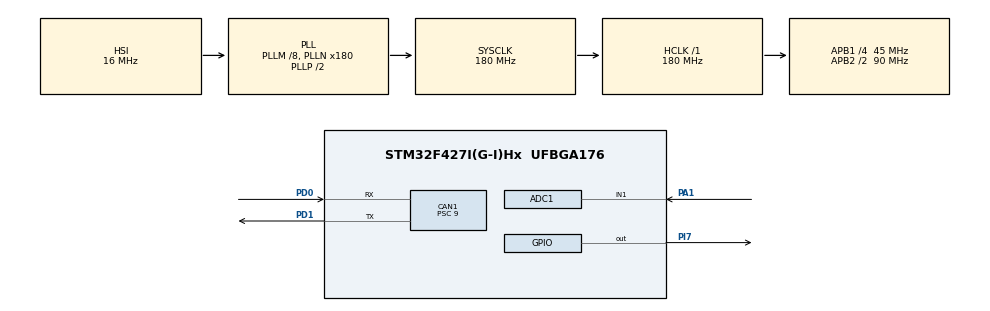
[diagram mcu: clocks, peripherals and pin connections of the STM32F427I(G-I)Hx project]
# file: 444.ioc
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ADC1.Channel-1\#ChannelRegularConversion=ADC_CHANNEL_1
ADC1.ClockPrescaler=ADC_CLOCK_SYNC_PCLK_DIV6
ADC1.DMAContinuousRequests=ENABLE
ADC1.ExternalTrigConv=ADC_EXTERNALTRIGCONV_T3_TRGO
ADC1.NbrOfConversion=1
ADC1.NbrOfConversionFlag=1
ADC1.Rank-1\#ChannelRegularConversion=1
ADC1.SamplingTime-1\#ChannelRegularConversion=ADC_SAMPLETIME_56CYCLES
ADC1.ScanConvMode=DISABLE
ADC1.master=1
CAN1.BS1=CAN_BS1_3TQ
CAN1.CalculateBaudRate=1000000
CAN1.CalculateTimeBit=1000
CAN1.CalculateTimeQuantum=200.0
CAN1.Prescaler=9
Dma.ADC1.0.Direction=DMA_PERIPH_TO_MEMORY
Dma.ADC1.0.FIFOMode=DMA_FIFOMODE_DISABLE
Dma.ADC1.0.Instance=DMA2_Stream0
Dma.ADC1.0.MemDataAlignment=DMA_MDATAALIGN_HALFWORD
Dma.ADC1.0.MemInc=DMA_MINC_ENABLE
Dma.ADC1.0.Mode=DMA_CIRCULAR
Dma.ADC1.0.PeriphDataAlignment=DMA_PDATAALIGN_HALFWORD
Dma.ADC1.0.PeriphInc=DMA_PINC_DISABLE
Dma.ADC1.0.Priority=DMA_PRIORITY_VERY_HIGH
Dma.Request0=ADC1
Mcu.Family=STM32F4
Mcu.Name=STM32F427I(G-I)Hx
Mcu.Package=UFBGA176
NVIC.ADC_IRQn=true\:3\:0\:true\:false\:true\:true\:true\:true
NVIC.DMA2_Stream0_IRQn=true\:0\:0\:false\:false\:true\:false\:true\:true
NVIC.PriorityGroup=NVIC_PRIORITYGROUP_4
PA1.Signal=ADCx_IN1
PA13.Mode=Serial_Wire
PA13.Signal=SYS_JTMS-SWDIO
PA14.Mode=Serial_Wire
PA14.Signal=SYS_JTCK-SWCLK
PD0.Mode=CAN_Activate
PD0.Signal=CAN1_RX
PD1.Mode=CAN_Activate
PD1.Signal=CAN1_TX
PH0/OSC_IN.Mode=HSE-External-Oscillator
PH0/OSC_IN.Signal=RCC_OSC_IN
PH1/OSC_OUT.Mode=HSE-External-Oscillator
PH1/OSC_OUT.Signal=RCC_OSC_OUT
PI7.PinState=GPIO_PIN_SET
PI7.Signal=GPIO_Output
ProjectManager.HeapSize=0x200
ProjectManager.StackSize=0x400
ProjectManager.TargetToolchain=MDK-ARM V5.32
RCC.48MHZClocksFreq_Value=90000000
RCC.AHBFreq_Value=180000000
RCC.APB1CLKDivider=RCC_HCLK_DIV4
RCC.APB1Freq_Value=45000000
RCC.APB1TimFreq_Value=90000000
RCC.APB2CLKDivider=RCC_HCLK_DIV2
RCC.APB2Freq_Value=90000000
RCC.APB2TimFreq_Value=180000000
RCC.CortexFreq_Value=180000000
RCC.HCLKFreq_Value=180000000
RCC.HSE_VALUE=25000000
RCC.HSI_VALUE=16000000
RCC.LSE_VALUE=32768
RCC.PLLM=8
RCC.PLLN=180
RCC.SYSCLKFreq_VALUE=180000000
RCC.SYSCLKSource=RCC_SYSCLKSOURCE_PLLCLK
RCC.VCOOutputFreq_Value=360000000
SH.ADCx_IN1.0=ADC1_IN1,IN1
TIM3.Period=1000-1
TIM3.Prescaler=18-1
TIM3.TIM_MasterOutputTrigger=TIM_TRGO_UPDATE
TIM8.Period=900-1
TIM8.Prescaler=400-1
VP_TIM3_VS_ClockSourceINT.Mode=Internal
VP_TIM8_VS_ClockSourceINT.Mode=Internal
board=custom

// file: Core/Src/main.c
/* USER CODE BEGIN Header */
/**
 ******************************************************************************
 * @file           : main.c
 * @brief          : Main program body
 ******************************************************************************
 * @attention      : CAN configuration is based on https://blog.csdn.net/prolop87/article/details/122671441
 *                   putFLOAT is based on https://blog.csdn.net/jianfeng_zhang1990/article/details/45395987
 *
 * Copyright (c) 2024 STMicroelectronics.
 * All rights reserved.
 *
 * This software is licensed under terms that can be found in the LICENSE file
 * in the root directory of this software component.
 * If no LICENSE file comes with this software, it is provided AS-IS.
 *
 ******************************************************************************
 */
/* USER CODE END Header */
#include "main.h"
#include "adc.h"
#include "can.h"
#include "dma.h"
#include "tim.h"
#include "gpio.h"

/* USER CODE BEGIN Includes */
#include "string.h"
#include "stdint.h"
#include "math.h"
#include "stm32_dsp.h"
// #include "arm_math.h"
/* USER CODE END Includes */

/* USER CODE BEGIN PM */
#define NPT 1024     // Number of FFT points
#define CHANNELNUM 4 // Number of ADC channels
#define PSC 18       // According to STM32CubeMX configuration
#define ARR 1000     // According to STM32CubeMX configuration
// #define CAN_RX_EXT_ID 0x18FF50E5
#define CAN_TX_ID 0x110
// #define PWM_MAX 1000
/* USER CODE END PM */

/* USER CODE BEGIN PV */
CAN_TxHeaderTypeDef TX_HEADER;
// CAN_RxHeaderTypeDef RX_HEADER;
// uint8_t RX_DATA[8];
// uint8_t RX_FLAG;
// uint8_t RX_BUFFER[8];
uint8_t TX_FLAG;
uint8_t TX_BUFFER[CHANNELNUM] = {0};
uint32_t ADC_BUFFER[NPT];
uint32_t FFT_IN[NPT];
uint32_t FFT_OUT[NPT];
uint32_t FFT_MAG[NPT / 2];
uint16_t i = 0;
float FS = (float)180000000.0 / ((float)ARR * (float)PSC);
float FREQ = 0;
// TIM_OC_InitTypeDef sConfig[4];
/* USER CODE END PV */

void SystemClock_Config(void);

/* USER CODE BEGIN 0 */
void getFFT_MAG(void);
void getMAX_FFT_MAG_FREQ(void);
void putFLOAT(float Fdat, unsigned char *Buf, unsigned char Pos); // See in https://blog.csdn.net/jianfeng_zhang1990/article/details/45395987
void CAN_FILTER_INIT(void);
uint8_t CAN_SEND_MSG(uint8_t *msg, uint8_t len);
// uint8_t CAN_RECEIVE_MSG(uint8_t *msg, uint8_t len);
// void TIM8_PWM_INIT(void);
// void TIM8_PWM_CFG(uint16_t duty);
// void INIT_ESC(void);
/* USER CODE END 0 */

int main(void)
{

    /* MCU Configuration--------------------------------------------------------*/

    /* Reset of all peripherals, Initializes the Flash interface and the Systick. */
    HAL_Init();

    /* Configure the system clock */
    SystemClock_Config();

    /* Initialize all configured peripherals */
    MX_GPIO_Init();
    MX_DMA_Init();
    MX_ADC1_Init();
    MX_TIM3_Init();
    MX_CAN1_Init();
    MX_TIM8_Init();
    /* USER CODE BEGIN 2 */
    CAN_FILTER_INIT();
    HAL_TIM_Base_Start(&htim3);
    // HAL_TIM_Base_Start_IT(&htim3);
    HAL_ADC_Start_DMA(&hadc1, (uint32_t *)ADC_BUFFER, NPT * 2);
    // TIM8_PWM_INIT();
    // INIT_ESC();
    // TIM8_PWM_CFG(550);
    /* USER CODE END 2 */

    /* Infinite loop */
    while (1)
    {

        /* USER CODE BEGIN 3 */
        // TX_FLAG = CAN_SEND_MSG(TX_BUFFER, CHANNELNUM); // Send data and check if the sending is successful
        // memset(TX_BUFFER, 0, sizeof(TX_BUFFER));
    }
    /* USER CODE END 3 */
}

void SystemClock_Config(void)
{
    RCC_OscInitTypeDef RCC_OscInitStruct = {0};
    RCC_ClkInitTypeDef RCC_ClkInitStruct = {0};

    /** Configure the main internal regulator output voltage
     */
    __HAL_RCC_PWR_CLK_ENABLE();
    __HAL_PWR_VOLTAGESCALING_CONFIG(PWR_REGULATOR_VOLTAGE_SCALE1);

    /** Initializes the RCC Oscillators according to the specified parameters
     * in the RCC_OscInitTypeDef structure.
     */
    RCC_OscInitStruct.OscillatorType = RCC_OSCILLATORTYPE_HSI;
    RCC_OscInitStruct.HSIState = RCC_HSI_ON;
    RCC_OscInitStruct.HSICalibrationValue = RCC_HSICALIBRATION_DEFAULT;
    RCC_OscInitStruct.PLL.PLLState = RCC_PLL_ON;
    RCC_OscInitStruct.PLL.PLLSource = RCC_PLLSOURCE_HSI;
    RCC_OscInitStruct.PLL.PLLM = 8;
    RCC_OscInitStruct.PLL.PLLN = 180;
    RCC_OscInitStruct.PLL.PLLP = RCC_PLLP_DIV2;
    RCC_OscInitStruct.PLL.PLLQ = 4;
    if (HAL_RCC_OscConfig(&RCC_OscInitStruct) != HAL_OK)
    {
        Error_Handler();
    }

    /** Activate the Over-Drive mode
     */
    if (HAL_PWREx_EnableOverDrive() != HAL_OK)
    {
        Error_Handler();
    }

    /** Initializes the CPU, AHB and APB buses clocks
     */
    RCC_ClkInitStruct.ClockType = RCC_CLOCKTYPE_HCLK | RCC_CLOCKTYPE_SYSCLK | RCC_CLOCKTYPE_PCLK1 | RCC_CLOCKTYPE_PCLK2;
    RCC_ClkInitStruct.SYSCLKSource = RCC_SYSCLKSOURCE_PLLCLK;
    RCC_ClkInitStruct.AHBCLKDivider = RCC_SYSCLK_DIV1;
    RCC_ClkInitStruct.APB1CLKDivider = RCC_HCLK_DIV4;
    RCC_ClkInitStruct.APB2CLKDivider = RCC_HCLK_DIV2;

    if (HAL_RCC_ClockConfig(&RCC_ClkInitStruct, FLASH_LATENCY_5) != HAL_OK)
    {
        Error_Handler();
    }
}

/* USER CODE BEGIN 4 */
// ADC-DMA interrupt callback function
void HAL_ADC_ConvCpltCallback(ADC_HandleTypeDef *hadc)
{
    // Stop ADC-DMA
    HAL_ADC_Stop_DMA(&hadc1);
    for (i = 0; i < NPT; i++)
    {
        ADC_BUFFER[i] = (ADC_BUFFER[i] >> 16) + (ADC_BUFFER[i] << 16);
    }
    i = 0;
    memcpy(FFT_IN, ADC_BUFFER, NPT * sizeof(uint16_t));
    for (i = 0; i < NPT; i++)
    {
        // FFT_IN[i] = ADC_BUFFER[i];
        FFT_IN[i] = (FFT_IN[i] << 16);
    }
    i = 0;
    cr4_fft_1024_stm32(FFT_OUT, FFT_IN, NPT);
    getFFT_MAG();
    getMAX_FFT_MAG_FREQ();
    if(FREQ<40){
        FREQ = 0;
    }
    putFLOAT((FREQ / 6) * 60, TX_BUFFER, 0);       // Divided by 6 to get the round per second, because the motor has 12 poles(6 pairs of poles), and then multiplied by 60 to get the round per minute
    TX_FLAG = CAN_SEND_MSG(TX_BUFFER, CHANNELNUM); // Send data and check if the sending is successful
    memset(TX_BUFFER, 0, sizeof(TX_BUFFER));
    // Restart ADC-DMA
    HAL_ADC_Start_DMA(&hadc1, (uint32_t *)ADC_BUFFER, NPT * 2);
}

// Take the modulus of the FFT result
void getFFT_MAG(void)
{
    signed short lX, lY;
    float X, Y, Mag;
    unsigned short i;
    for (i = 0; i < NPT / 2; i++)
    {
        lX = (FFT_OUT[i] << 16) >> 16;
        lY = (FFT_OUT[i] >> 16);

        // Dividing by 32768 and then multiplying by 65536 is done to comply with floating-point calculation rules
        X = NPT * ((float)lX) / 32768;
        Y = NPT * ((float)lY) / 32768;
        Mag = sqrt(X * X + Y * Y) / NPT;
        if (i == 0)
        {
            FFT_MAG[i] = (unsigned long)(Mag * 32768);
        }
        else
        {
            FFT_MAG[i] = (unsigned long)(Mag * 65536);
        }
    }
    i = 0;
}

// Find the main frequency
void getMAX_FFT_MAG_FREQ(void)
{
    uint32_t maxMAG = 0;
    uint16_t maxMAG_INDEX = 0;
    for (i = 2; i < NPT / 2; i++) //  Where the number 'i' starts from may be about the wave form, like sin is from 1 and triangle is from 2.(?)
    {
        if (FFT_MAG[i] > maxMAG)
        {
            maxMAG = FFT_MAG[i];
            maxMAG_INDEX = i;
        }
    }
    FREQ = FS * (((float)maxMAG_INDEX) / ((float)NPT * 4)) + 26; // Add 2 and 4 is for correction
    i = 0;
}

void putFLOAT(float Fdat, unsigned char *Buf, unsigned char Pos)
{
    unsigned char *p;

    p = (unsigned char *)&Fdat;
    Buf[Pos] = *p;
    Buf[Pos + 1] = *(p + 1);
    Buf[Pos + 2] = *(p + 2);
    Buf[Pos + 3] = *(p + 3);
}

// CAN filter initialization
void CAN_FILTER_INIT(void)
{
    // CAN_FilterTypeDef sFilterConfig;

    // sFilterConfig.FilterBank = 0;
    // sFilterConfig.FilterMode = CAN_FILTERMODE_IDMASK; // Set the filter mode to mask mode
    // sFilterConfig.FilterScale = CAN_FILTERSCALE_32BIT;

    // sFilterConfig.FilterIdHigh = (((uint32_t)CAN_RX_EXT_ID << 3) & 0xFFFF0000) >> 16;                  // Set the filter ID high 16 bits
    // sFilterConfig.FilterIdLow = (((uint32_t)CAN_RX_EXT_ID << 3) | CAN_ID_EXT | CAN_RTR_DATA) & 0xFFFF; // Set the filter ID low 16 bits, the way to set the filter ID is to shift the ID 3 bits to the left and then set the ID to the extended frame and data frame
    // sFilterConfig.FilterMaskIdHigh = 0xFFFF;                                                           // Set the filter mask high 16 bits
    // sFilterConfig.FilterMaskIdLow = 0xFFFF;                                                            // Set the filter mask low 16 bits
    // sFilterConfig.FilterFIFOAssignment = CAN_RX_FIFO0;                                                 // Set the filter FIFO assignment
    // sFilterConfig.FilterActivation = ENABLE;
    // sFilterConfig.SlaveStartFilterBank = 14;

    // if (HAL_CAN_ConfigFilter(&hcan1, &sFilterConfig) != HAL_OK)
    // {
    //     /* Filter configuration Error */
    //     Error_Handler();
    // }

    if (HAL_CAN_Start(&hcan1) != HAL_OK)
    {
        /* Start Error */
        Error_Handler();
    }

    if (HAL_CAN_ActivateNotification(&hcan1, CAN_IT_RX_FIFO0_MSG_PENDING) != HAL_OK)
    {
        /* Start Error */
        Error_Handler();
    }

    // Config TX_HEADER with normal frame
    // TX_HEADER.ExtId = ; // Set the extended identifier (29-bit)
    // TX_HEADER.IDE = CAN_ID_EXT;      // Use extended frame
    // TX_HEADER.RTR = CAN_RTR_DATA;    // Set as data frame
    // TX_HEADER.DLC = 8;               // Set the data length to 8
    TX_HEADER.TransmitGlobalTime = DISABLE; // Disable the transmission time stamp
}

// CAN send message, takes an array pointer and data length as input parameters
// Returns 0 if data transmission is successful, returns 1 if there is a transmission error
uint8_t CAN_SEND_MSG(uint8_t *msg, uint8_t len)
{
    uint8_t i = 0;
    uint32_t TxMailbox;
    uint8_t message[8];

    TX_HEADER.StdId = CAN_TX_ID;     // Set the standard identifier (11-bit)
    TX_HEADER.IDE = CAN_ID_STD;      // Use standard frame
    TX_HEADER.RTR = CAN_RTR_DATA;    // Set as data frame
    TX_HEADER.DLC = len;             // Set the data length to 8

    for (i = 0; i < len; i++)
    {
        message[i] = msg[i];
    }

    if (HAL_CAN_AddTxMessage(&hcan1, &TX_HEADER, message, &TxMailbox) != HAL_OK) // Add a message to the mailbox
    {
        return 1;
    }
    while (HAL_CAN_GetTxMailboxesFreeLevel(&hcan1) != 3)
    {
    }
    return 0;
}

// CAN receive message
// void HAL_CAN_RxFifo0MsgPendingCallback(CAN_HandleTypeDef *CanNum)
// {
//     uint32_t i;

//     RX_FLAG = 1; // Set the receive flag to 1
//     HAL_CAN_GetRxMessage(&hcan1, CAN_RX_FIFO0, &RX_HEADER, RX_DATA);
//     for (i = 0; i < RX_HEADER.DLC; i++)
//     {

//         RX_BUFFER[i] = RX_DATA[i]; // Copy the received data to the receive buffer
//     }
// }

// Initialize TIM8 PWM
// void TIM8_PWM_INIT(void)
// {
//     // htim4.Instance = TIM8;
//     // htim4.Init.Prescaler = PWM_PRESCALER - 1; // 72MHz
//     // htim4.Init.Period = PWM_PERIOD - 1;       //->500Hz(144000)              7
//     HAL_TIM_Base_Init(&htim8);
//     uint8_t i = 0;
//     for (i = 0; i < 4; i += 1)
//     {
//         sConfig[i].OCMode = TIM_OCMODE_PWM1;
//         sConfig[i].OCPolarity = TIM_OCPOLARITY_HIGH;
//         sConfig[i].OCFastMode = TIM_OCFAST_DISABLE;
//     }
//     // HAL_TIM_PWM_Start(&htim8, TIM_CHANNEL_1);
//     // HAL_TIM_PWM_Start(&htim4, TIM_CHANNEL_2);
//     HAL_TIM_PWM_Start(&htim8, TIM_CHANNEL_3);
//     // HAL_TIM_PWM_Start(&htim4, TIM_CHANNEL_4);
// }

// void TIM8_PWM_CFG(uint16_t duty)
// {
//     for (uint8_t i = 0; i < 4; i++)
//     {
//         if (duty <= PWM_MAX)
//         {
//             sConfig[i].Pulse = duty;
//         }
//         else
//         {
//             sConfig[i].Pulse = PWM_MAX;
//         }
//     }
//     HAL_TIM_PWM_ConfigChannel(&htim8, &sConfig[2], TIM_CHANNEL_3);
//     // HAL_TIM_PWM_ConfigChannel(&htim4, &sConfig[1], TIM_CHANNEL_2);
//     // HAL_TIM_PWM_ConfigChannel(&htim4, &sConfig[2], TIM_CHANNEL_3);
//     // HAL_TIM_PWM_ConfigChannel(&htim4, &sConfig[3], TIM_CHANNEL_4);
// }

// void INIT_ESC(void)
// {
//     // GPIO_InitTypeDef GPIO_PB9;
//     // GPIO_PB9.Pin = GPIO_PIN_9;
//     // GPIO_PB9.Mode = GPIO_MODE_OUTPUT_PP;
//     // GPIO_PB9.Pull = GPIO_PULLUP;
//     // GPIO_PB9.Speed = GPIO_SPEED_FREQ_LOW;
//     // HAL_GPIO_Init(GPIOB, &GPIO_PB9);

//     // Init ESC.
//     TIM8_PWM_CFG(1000);
//     // DELAY_MS(20);
//     HAL_Delay(20);
//     TIM8_PWM_CFG(0);
//     // DELAY_MS(20);
//     HAL_Delay(20);
//     // TIM8_PWM_CFG(1000);
//     // DELAY_MS(20);
//     // HAL_Delay(20);

//     // Normal starting ESC.
//     TIM8_PWM_CFG(0);
//     // DELAY_MS(20);
//     HAL_Delay(20);
//     TIM8_PWM_CFG(1000);
//     // DELAY_MS(20);
//     HAL_Delay(20);
//     TIM8_PWM_CFG(550);
//     // DELAY_MS(5000);
//     HAL_Delay(5000);
//     TIM8_PWM_CFG(250);
//     // DELAY_MS(20);
//     HAL_Delay(20);
// }
/* USER CODE END 4 */

void Error_Handler(void)
{
    __disable_irq();
    while (1)
    {
    }
}
